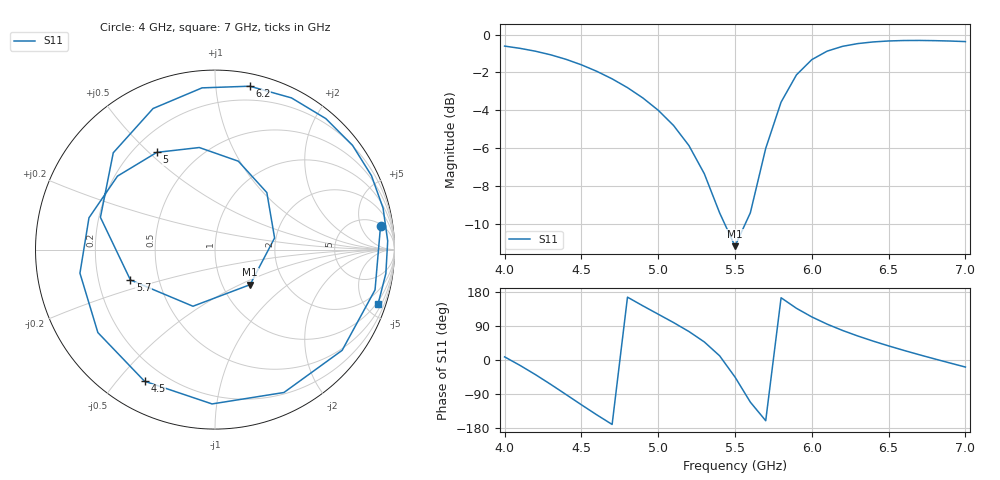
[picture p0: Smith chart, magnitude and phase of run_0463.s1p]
! Touchstone file exported from HFSS 2024.2.0
!  File:  C:/Users/wsak9/Desktop/Sim Fast/Widenad Patch/WP_AI_V1_sweep.aedt
!  Generated:  11:12:49 AM Oct 14, 2026
!  Design:  A1_model
!  Project:  WP_AI_V1_sweep
!  Setup:  Setup1
!  Solution:  Sweep
! Variables:
!  Air_gap = 5mm
!  Curve_Amp1 = 1.13
!  Curve_len1 = 1
!  Curve_pos = 11.36mm
!  Extra = 1.78mm
!  H_sub = 0.79mm
!  L_Patch = 18.72mm
!  L_Patch1 = 15.81mm
!  Sx = 2.29mm
!  Sy = 4.53mm
!  WS = 0.64mm
!  W_Patch = 12.12mm
!  W_Patch1 = 14.03mm
!Data is not renormalized
# GHz S MA
! Terminal data exported
! Port[1] = 1
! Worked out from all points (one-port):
!   31 points, 4 GHz to 7 GHz, reference per port
!   lowest |S11| = -11.2 dB at 5.5 GHz (marker M1), VSWR 1.76
!   |S11| at or under -10 dB: 5.433 GHz to 5.566 GHz (133 MHz wide, 2.42 % of centre)
!   S11 on the Smith chart (normalised r, x): 4 GHz: 5, +11; 4.5 GHz: 0.12, -0.59; 5 GHz: 0.29, +0.53; 5.7 GHz: 0.34, -0.15; 6.2 GHz: 0.09, +1.23; 7 GHz: 0.81, -6.00
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4  0.9321 8.2
4.1  0.9195 -14.1
4.2  0.9037 -38.4
4.3  0.884 -64.2
4.4  0.86 -91.1
4.5  0.8319 -118.2
4.6  0.7997 -144.7
4.7  0.7639 -170.1
4.8  0.7241 165.8
4.9  0.6802 143.0
5  0.6313 120.9
5.1  0.5754 98.8
5.2  0.5094 75.2
5.3  0.4294 47.7
5.4  0.3383 11.0
5.5  0.2764 -45.0
5.6  0.3386 -111.3
5.7  0.5007 -160.2
5.8  0.6631 164.3
5.9  0.7825 136.4
6  0.8585 113.7
6.1  0.904 94.6
6.2  0.9307 78.0
6.3  0.9465 63.2
6.5  0.9616 37.2
6.7  0.9646 13.9
6.8  0.9634 2.8
7  0.958 -18.6
